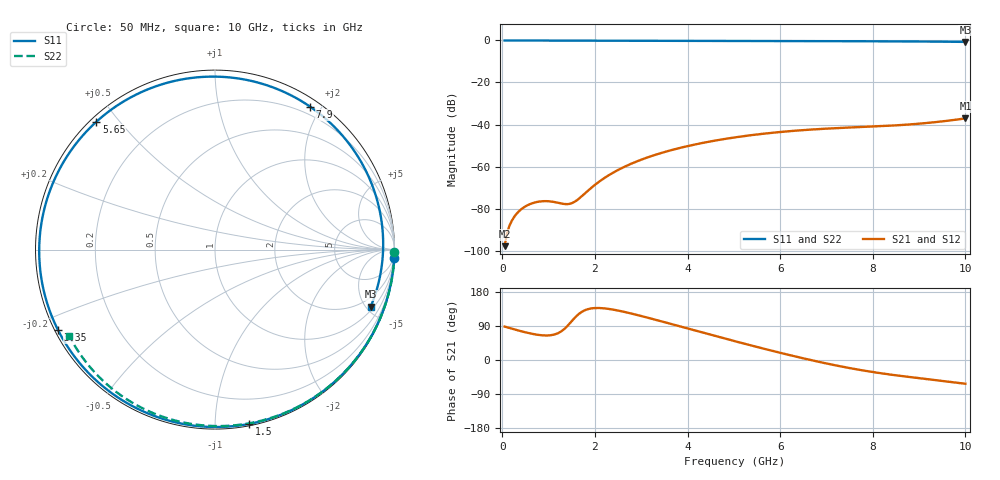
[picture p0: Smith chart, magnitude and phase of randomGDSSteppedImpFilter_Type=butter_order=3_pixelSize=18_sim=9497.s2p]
! freq	dB(S11)	phase(S11)	dB(S12)	phase(S12)
!  dB(S21)	phase(S21)	dB(S22)	phase(S22)
!S-par simulation data
#  GHz  S  DB  R 50
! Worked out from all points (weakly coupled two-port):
!   200 points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, 50 MHz to 10 GHz, reference 50 ohm
!   highest |S21| = -37.08 dB at 10 GHz (marker M1); lowest = -97.9 dB at 50 MHz (marker M2)
!   lowest |S11| = -0.7 dB at 10 GHz (marker M3), VSWR 25.24, Z = 61.7 - j268 ohm
!   |S11| at or under -10 dB: nowhere
!   |S22| runs from -0.5 to 0.0 dB; largest |S21 - S12| = 0
!   S11 on the Smith chart (normalised r, x): 50 MHz: 0, -40; 1.5 GHz: 0.01, -1.21; 3.35 GHz: 0.01, -0.24; 5.65 GHz: 0.02, +0.44; 7.9 GHz: 0.10, +1.86; 10 GHz: 1.23, -5.36
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0.05  -0.00 -2.8  -97.89 88.2  -97.89 88.2  -0.00 -0.9
0.4  -0.03 -22.3  -80.49 76.2  -80.49 76.2  -0.01 -6.9
0.85  -0.06 -46.6  -76.54 65.2  -76.54 65.2  -0.02 -14.6
1.15  -0.07 -62.0  -76.99 68.3  -76.99 68.3  -0.02 -19.8
1.5  -0.09 -79.0  -77.45 102.5  -77.45 102.5  -0.03 -25.7
1.75  -0.10 -90.4  -73.46 129.4  -73.46 129.4  -0.04 -29.9
2.1  -0.11 -105.6  -67.06 137.2  -67.06 137.2  -0.05 -35.7
2.45  -0.12 -119.8  -62.21 131.7  -62.21 131.7  -0.05 -41.5
2.9  -0.14 -136.8  -57.60 119.2  -57.60 119.2  -0.06 -48.8
3.35  -0.15 -152.8  -54.10 104.8  -54.10 104.8  -0.07 -55.9
3.4  -0.15 -154.5  -53.76 103.2  -53.76 103.2  -0.08 -56.7
4.2  -0.18 179.0  -49.32 76.6  -49.32 76.6  -0.10 -69.1
5.05  -0.22 152.0  -46.04 48.7  -46.04 48.7  -0.13 -81.9
5.65  -0.25 132.8  -44.36 29.7  -44.36 29.7  -0.15 -90.5
6.2  -0.28 115.0  -43.17 13.1  -43.17 13.1  -0.18 -98.3
6.7  -0.31 98.3  -42.36 -1.2  -42.36 -1.2  -0.20 -105.3
7.3  -0.34 77.6  -41.63 -16.7  -41.63 -16.7  -0.24 -113.5
7.9  -0.39 56.3  -41.05 -29.8  -41.05 -29.8  -0.29 -121.5
8.35  -0.43 40.0  -40.58 -38.0  -40.58 -38.0  -0.33 -127.5
8.8  -0.47 23.5  -39.96 -44.9  -39.96 -44.9  -0.37 -133.5
9.2  -0.53 8.8  -39.21 -50.6  -39.21 -50.6  -0.41 -138.7
10  -0.69 -20.1  -37.08 -62.7  -37.08 -62.7  -0.50 -149.3
